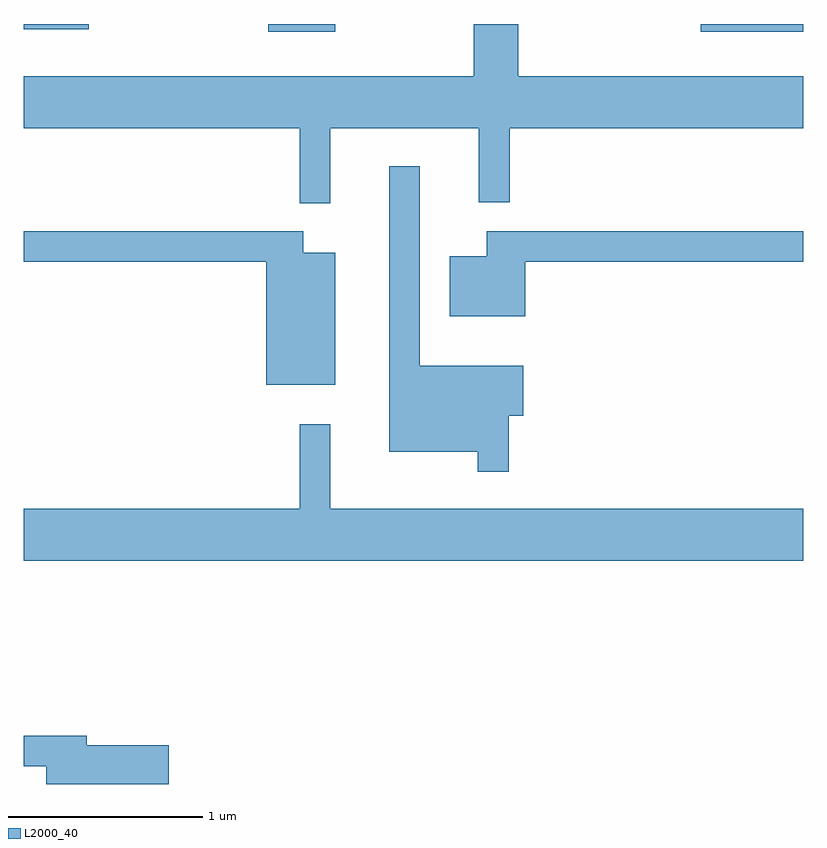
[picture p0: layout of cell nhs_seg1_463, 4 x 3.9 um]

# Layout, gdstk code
import gdstk
lib = gdstk.Library(unit=1e-6, precision=1e-09)
def R(c, l, rs):  # rectangles x0, y0, x1, y1
    for r in rs: c.add(gdstk.rectangle(r[:2], r[2:], *l))
def P(c, l, *ps):  # polygons
    for p in ps: c.add(gdstk.Polygon(p, *l))
L2000_40 = (2000, 40)

nhs_seg1_463 = lib.new_cell('nhs_seg1_463')
R(nhs_seg1_463, L2000_40, [(200.866,855.671,201.209,855.712), (203.086,855.671,203.611,855.712), (199.611,855.686,199.944,855.712)])
P(nhs_seg1_463, L2000_40, [(201.184,855.176),(201.946,855.176),(201.946,854.798),(202.104,854.798),(202.104,855.176),(203.611,855.176),(203.611,855.444),(202.149,855.444),(202.149,855.712),(201.921,855.712),(201.921,855.444),(199.611,855.444),(199.611,855.176),(201.026,855.176),(201.026,854.793),(201.184,854.793)],
  [(202.099,853.701),(202.174,853.701),(202.174,853.959),(201.644,853.959),(201.644,854.983),(201.486,854.983),(201.486,853.516),(201.941,853.516),(201.941,853.413),(202.099,853.413)],
  [(202.184,854.491),(203.611,854.491),(203.611,854.649),(201.986,854.649),(201.986,854.519),(201.796,854.519),(201.796,854.211),(202.184,854.211)],
  [(201.209,854.539),(201.044,854.539),(201.044,854.649),(199.611,854.649),(199.611,854.491),(200.856,854.491),(200.856,853.861),(201.209,853.861)],
  [(203.611,853.224),(201.184,853.224),(201.184,853.658),(201.026,853.658),(201.026,853.224),(199.611,853.224),(199.611,852.956),(203.611,852.956)],
  [(200.354,852.009),(199.934,852.009),(199.934,852.059),(199.611,852.059),(199.611,851.901),(199.726,851.901),(199.726,851.811),(200.354,851.811)])

lib.write_gds('nhs_seg1_463.gds')
